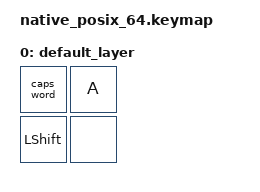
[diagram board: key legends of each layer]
#include <dt-bindings/zmk/keys.h>
#include <behaviors.dtsi>
#include <dt-bindings/zmk/kscan_mock.h>

&caps_word {
    /delete-property/ ignore-modifiers;
};

/ {
    keymap {
        compatible = "zmk,keymap";
        label = "Default keymap";

        default_layer {
            bindings = <
                &caps_word &kp A
                &kp LSHFT &none
            >;
        };
    };
};


&kscan {
    events = <
    ZMK_MOCK_PRESS(0,0,10)
    ZMK_MOCK_RELEASE(0,0,10)
    ZMK_MOCK_PRESS(0,1,10)
    ZMK_MOCK_RELEASE(0,1,10)
    ZMK_MOCK_PRESS(1,0,10)
    ZMK_MOCK_RELEASE(1,0,10)
    ZMK_MOCK_PRESS(0,1,10)
    ZMK_MOCK_RELEASE(0,1,10)
    >;
};
